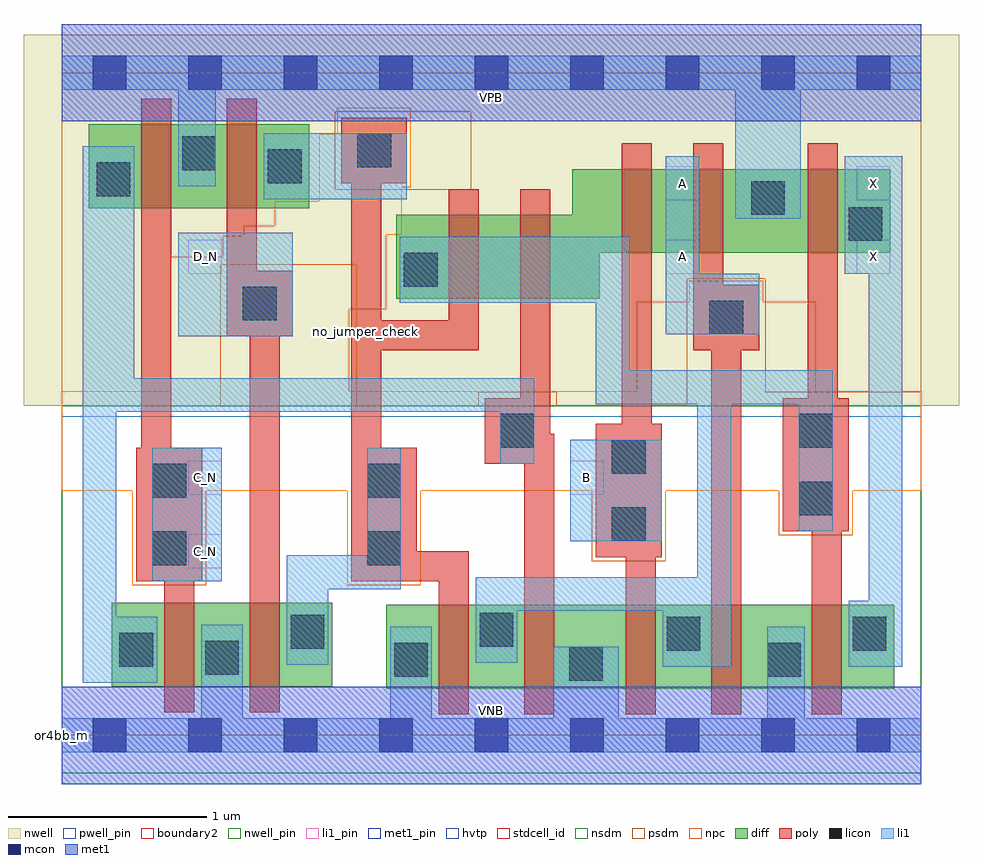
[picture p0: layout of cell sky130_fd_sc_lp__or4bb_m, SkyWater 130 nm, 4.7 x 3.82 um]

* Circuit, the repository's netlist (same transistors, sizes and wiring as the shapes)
* Copyright 2020 The SkyWater PDK Authors
*
* Licensed under the Apache License, Version 2.0 (the "License");
* you may not use this file except in compliance with the License.
* You may obtain a copy of the License at
*
*     https://www.apache.org/licenses/LICENSE-2.0
*
* Unless required by applicable law or agreed to in writing, software
* distributed under the License is distributed on an "AS IS" BASIS,
* WITHOUT WARRANTIES OR CONDITIONS OF ANY KIND, either express or implied.
* See the License for the specific language governing permissions and
* limitations under the License.
*
* SPDX-License-Identifier: Apache-2.0

.SUBCKT sky130_fd_sc_lp__or4bb_m A B C_N D_N VGND VNB VPB VPWR X
*.PININFO A:I B:I C_N:I D_N:I VGND:I VNB:I VPB:I VPWR:I X:O
MMP0 VPWR A sndPA VPB sky130_fd_pr__pfet_01v8_hvt m=1 w=0.42U l=0.15U mult=1 sa=0.265
+ sb=0.265 sd=0.28 area=0.063 perim=1.14
MMP1 sndPA B sndPB VPB sky130_fd_pr__pfet_01v8_hvt m=1 w=0.42U l=0.15U mult=1 sa=0.265
+ sb=0.265 sd=0.28 area=0.063 perim=1.14
MMP2 sndPB C sndPC VPB sky130_fd_pr__pfet_01v8_hvt m=1 w=0.42U l=0.15U mult=1 sa=0.265
+ sb=0.265 sd=0.28 area=0.063 perim=1.14
MMP3 sndPC D y VPB sky130_fd_pr__pfet_01v8_hvt m=1 w=0.42U l=0.15U mult=1 sa=0.265
+ sb=0.265 sd=0.28 area=0.063 perim=1.14
MMIP2 C C_N VPWR VPB sky130_fd_pr__pfet_01v8_hvt m=1 w=0.42U l=0.15U mult=1 sa=0.265
+ sb=0.265 sd=0.28 area=0.063 perim=1.14
MMIP3 D D_N VPWR VPB sky130_fd_pr__pfet_01v8_hvt m=1 w=0.42U l=0.15U mult=1 sa=0.265
+ sb=0.265 sd=0.28 area=0.063 perim=1.14
MMIP4 X y VPWR VPB sky130_fd_pr__pfet_01v8_hvt m=1 w=0.42U l=0.15U mult=1 sa=0.265
+ sb=0.265 sd=0.28 area=0.063 perim=1.14
MMN0 y A VGND VNB sky130_fd_pr__nfet_01v8 m=1 w=0.42U l=0.15U mult=1 sa=0.265 sb=0.265
+ sd=0.28 area=0.063 perim=1.14
MMN1 y B VGND VNB sky130_fd_pr__nfet_01v8 m=1 w=0.42U l=0.15U mult=1 sa=0.265 sb=0.265
+ sd=0.28 area=0.063 perim=1.14
MMN2 y C VGND VNB sky130_fd_pr__nfet_01v8 m=1 w=0.42U l=0.15U mult=1 sa=0.265 sb=0.265
+ sd=0.28 area=0.063 perim=1.14
MMN3 y D VGND VNB sky130_fd_pr__nfet_01v8 m=1 w=0.42U l=0.15U mult=1 sa=0.265 sb=0.265
+ sd=0.28 area=0.063 perim=1.14
MMIN2 C C_N VGND VNB sky130_fd_pr__nfet_01v8 m=1 w=0.42U l=0.15U mult=1 sa=0.265
+ sb=0.265 sd=0.28 area=0.063 perim=1.14
MMIN3 D D_N VGND VNB sky130_fd_pr__nfet_01v8 m=1 w=0.42U l=0.15U mult=1 sa=0.265
+ sb=0.265 sd=0.28 area=0.063 perim=1.14
MMIN4 X y VGND VNB sky130_fd_pr__nfet_01v8 m=1 w=0.42U l=0.15U mult=1 sa=0.265
+ sb=0.265 sd=0.28 area=0.063 perim=1.14
.ENDS sky130_fd_sc_lp__or4bb_m

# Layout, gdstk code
import gdstk
lib = gdstk.Library(unit=1e-6, precision=1e-09)
def R(c, l, rs):  # rectangles x0, y0, x1, y1
    for r in rs: c.add(gdstk.rectangle(r[:2], r[2:], *l))
def A(c, l, x, y, w, h, nx, ny, dx, dy):  # array of equal rectangles
    R(c, l, [(x+i*dx, y+j*dy, x+i*dx+w, y+j*dy+h) for i in range(nx) for j in range(ny)])
def P(c, l, *ps):  # polygons
    for p in ps: c.add(gdstk.Polygon(p, *l))
nwell_pin = (64, 16)
nwell = (64, 20)
diff = (65, 20)
poly = (66, 20)
licon = (66, 44)
li1_pin = (67, 16)
li1 = (67, 20)
mcon = (67, 44)
met1_pin = (68, 16)
met1 = (68, 20)
hvtp = (78, 44)
stdcell_id = (81, 4)
nsdm = (93, 44)
psdm = (94, 20)
npc = (95, 20)
pwell_pin = (122, 16)
boundary2 = (236, 0)

sky130_fd_sc_lp__or4bb_m = lib.new_cell('sky130_fd_sc_lp__or4bb_m')
R(sky130_fd_sc_lp__or4bb_m, nwell_pin, [(0,3.085,4.32,3.33)])
R(sky130_fd_sc_lp__or4bb_m, nwell, [(-0.19,1.655,4.51,3.52)])
R(sky130_fd_sc_lp__or4bb_m, diff, [(1.63,0.235,4.185,0.655), (0.25,0.245,1.36,0.665), (0.135,2.65,1.245,3.07)])
P(sky130_fd_sc_lp__or4bb_m, diff, [(4.165,2.845),(2.565,2.845),(2.565,2.615),(1.68,2.615),(1.68,2.195),(2.705,2.195),(2.705,2.425),(4.165,2.425)])
R(sky130_fd_sc_lp__or4bb_m, poly, [(1.405,2.775,1.735,3.105)])
P(sky130_fd_sc_lp__or4bb_m, poly, [(0.705,1.445),(0.55,1.445),(0.55,3.2),(0.4,3.2),(0.4,1.445),(0.375,1.445),(0.375,0.775),(0.515,0.775),(0.515,0.115),(0.665,0.115),(0.665,0.775),(0.705,0.775)],
  [(1.16,2.335),(0.98,2.335),(0.98,3.2),(0.83,3.2),(0.83,2.005),(0.945,2.005),(0.945,0.115),(1.095,0.115),(1.095,2.005),(1.16,2.005)],
  [(2.095,2.745),(1.945,2.745),(1.945,2.085),(1.605,2.085),(1.605,2.775),(1.455,2.775),(1.455,0.775),(1.895,0.775),(1.895,0.105),(2.045,0.105),(2.045,0.925),(1.785,0.925),(1.785,1.445),(1.605,1.445),(1.605,1.935),(2.095,1.935)],
  [(2.475,1.515),(2.455,1.515),(2.455,2.745),(2.305,2.745),(2.305,1.695),(2.125,1.695),(2.125,1.365),(2.325,1.365),(2.325,0.105),(2.475,0.105)],
  [(3.015,1.565),(2.965,1.565),(2.965,2.975),(2.815,2.975),(2.815,1.565),(2.685,1.565),(2.685,0.895),(2.835,0.895),(2.835,0.105),(2.985,0.105),(2.985,0.895),(3.015,0.895)],
  [(3.505,2.265),(3.325,2.265),(3.325,2.975),(3.175,2.975),(3.175,1.935),(3.265,1.935),(3.265,0.105),(3.415,0.105),(3.415,1.935),(3.505,1.935)],
  [(3.955,1.695),(3.9,1.695),(3.9,2.975),(3.75,2.975),(3.75,1.695),(3.625,1.695),(3.625,1.025),(3.77,1.025),(3.77,0.105),(3.92,0.105),(3.92,1.025),(3.955,1.025)])
R(sky130_fd_sc_lp__or4bb_m, licon, [(2.55,0.275,2.72,0.445), (1.67,0.295,1.84,0.465), (3.545,0.295,3.715,0.465), (0.72,0.305,0.89,0.475), (0.29,0.345,0.46,0.515), (3.04,0.425,3.21,0.595), (3.975,0.425,4.145,0.595), (1.15,0.435,1.32,0.605), (2.1,0.445,2.27,0.615), (0.455,0.855,0.625,1.025), (1.535,0.855,1.705,1.025), (2.765,0.975,2.935,1.145), (3.705,1.105,3.875,1.275), (0.455,1.195,0.625,1.365), (1.535,1.195,1.705,1.365), (2.765,1.315,2.935,1.485), (2.205,1.445,2.375,1.615), (3.705,1.445,3.875,1.615), (3.255,2.015,3.425,2.185), (0.91,2.085,1.08,2.255), (1.72,2.255,1.89,2.425), (3.955,2.485,4.125,2.655), (3.465,2.615,3.635,2.785), (0.175,2.71,0.345,2.88), (1.035,2.775,1.205,2.945), (0.605,2.84,0.775,3.01), (1.485,2.855,1.655,3.025)])
R(sky130_fd_sc_lp__or4bb_m, li1_pin, [(0.635,0.84,0.805,1.01), (0.635,1.21,0.805,1.38), (2.555,1.21,2.725,1.38), (0.635,2.32,0.805,2.49), (3.035,2.32,3.205,2.49), (3.995,2.32,4.165,2.49), (3.035,2.69,3.205,2.86), (3.995,2.69,4.165,2.86)])
R(sky130_fd_sc_lp__or4bb_m, li1, [(0.455,0.775,0.805,1.445), (2.555,0.975,3.015,1.485), (0.585,2.005,1.16,2.525), (1.015,2.695,1.735,3.025)])
P(sky130_fd_sc_lp__or4bb_m, li1, [(3.385,2.595),(3.385,3.245),(0.775,3.245),(0.775,2.76),(0.585,2.76),(0.585,3.245),(0,3.245),(0,3.415),(4.32,3.415),(4.32,3.245),(3.715,3.245),(3.715,2.595)],
  [(2.47,0.085),(2.47,0.445),(2.8,0.445),(2.8,0.085),(3.545,0.085),(3.545,0.545),(3.735,0.545),(3.735,0.085),(4.32,0.085),(4.32,-0.085),(0,-0.085),(0,0.085),(0.7,0.085),(0.7,0.555),(0.91,0.555),(0.91,0.085),(1.65,0.085),(1.65,0.545),(1.86,0.545),(1.86,0.085)],
  [(3.02,0.345),(3.02,0.625),(2.29,0.625),(2.29,0.365),(2.08,0.365),(2.08,0.795),(3.195,0.795),(3.195,1.665),(2.685,1.665),(2.685,2.175),(1.7,2.175),(1.7,2.505),(2.855,2.505),(2.855,1.835),(3.875,1.835),(3.875,1.025),(3.705,1.025),(3.705,1.665),(3.365,1.665),(3.365,0.345)],
  [(3.935,2.32),(3.935,2.91),(4.225,2.91),(4.225,0.345),(3.955,0.345),(3.955,0.675),(4.055,0.675),(4.055,2.32)],
  [(0.365,1.795),(2.375,1.795),(2.375,1.365),(2.205,1.365),(2.205,1.625),(0.275,1.625),(0.275,0.595),(0.48,0.595),(0.48,0.265),(0.105,0.265),(0.105,2.96),(0.365,2.96)],
  [(1.535,0.905),(1.535,1.445),(1.705,1.445),(1.705,0.735),(1.34,0.735),(1.34,0.355),(1.13,0.355),(1.13,0.905)],
  [(3.035,2.91),(3.205,2.91),(3.205,2.32),(3.505,2.32),(3.505,2.015),(3.035,2.015)])
A(sky130_fd_sc_lp__or4bb_m, mcon, 0.155, -0.085, 0.17, 0.17, 9, 2, 0.48, 3.33)
R(sky130_fd_sc_lp__or4bb_m, met1_pin, [(0,0,4.32,0.245), (0,3.085,4.32,3.33)])
R(sky130_fd_sc_lp__or4bb_m, met1, [(0,-0.245,4.32,0.245), (0,3.085,4.32,3.575)])
R(sky130_fd_sc_lp__or4bb_m, hvtp, [(0,1.6,4.32,3.33)])
R(sky130_fd_sc_lp__or4bb_m, stdcell_id, [(0,0,4.32,3.33)])
R(sky130_fd_sc_lp__or4bb_m, nsdm, [(0,-0.19,4.32,1.655)])
P(sky130_fd_sc_lp__or4bb_m, psdm, [(4.32,3.52),(2.055,3.52),(2.055,2.745),(1.375,2.745),(1.375,3.135),(2.055,3.135),(2.055,3.52),(0,3.52),(0,1.655),(0.8,1.655),(0.8,2.365),(1.48,2.365),(1.48,1.655),(2.095,1.655),(2.095,1.725),(2.485,1.725),(2.485,1.655),(3.145,1.655),(3.145,2.295),(3.535,2.295),(3.535,1.725),(4.32,1.725)])
P(sky130_fd_sc_lp__or4bb_m, npc, [(4.32,1.73),(3.79,1.73),(3.79,2.18),(3.525,2.18),(3.525,2.285),(3.155,2.285),(3.155,2.18),(2.89,2.18),(2.89,1.73),(1.445,1.73),(1.445,2.14),(1.63,2.14),(1.63,2.515),(1.71,2.515),(1.71,2.755),(1.755,2.755),(1.755,3.155),(1.385,3.155),(1.385,3.02),(1.295,3.02),(1.295,2.685),(1.07,2.685),(1.07,2.56),(0.915,2.56),(0.915,2.51),(0.81,2.51),(0.81,2.405),(0.545,2.405),(0.545,1.73),(0,1.73),(0,1.23),(0.355,1.23),(0.355,0.755),(0.725,0.755),(0.725,1.23),(1.435,1.23),(1.435,0.755),(1.805,0.755),(1.805,1.23),(2.665,1.23),(2.665,0.875),(3.035,0.875),(3.035,1.23),(3.605,1.23),(3.605,1.005),(3.975,1.005),(3.975,1.23),(4.32,1.23)])
R(sky130_fd_sc_lp__or4bb_m, pwell_pin, [(0,0,4.32,0.245)])
R(sky130_fd_sc_lp__or4bb_m, boundary2, [(0,0,4.32,3.33)])
sky130_fd_sc_lp__or4bb_m.add(gdstk.Label('VNB', (2.16,0.123), layer=64, texttype=59))
sky130_fd_sc_lp__or4bb_m.add(gdstk.Label('VPB', (2.16,3.208), layer=64, texttype=5))
sky130_fd_sc_lp__or4bb_m.add(gdstk.Label('or4bb_m', (0,0), layer=83, texttype=44))
sky130_fd_sc_lp__or4bb_m.add(gdstk.Label('no_jumper_check', (1.525,2.03), layer=83, texttype=44))
sky130_fd_sc_lp__or4bb_m.add(gdstk.Label('VPWR', (2.16,3.208), layer=68, texttype=5))
sky130_fd_sc_lp__or4bb_m.add(gdstk.Label('VGND', (2.16,0.123), layer=68, texttype=5))
sky130_fd_sc_lp__or4bb_m.add(gdstk.Label('B', (2.64,1.295), layer=67, texttype=5))
sky130_fd_sc_lp__or4bb_m.add(gdstk.Label('C_N', (0.72,0.925), layer=67, texttype=5))
sky130_fd_sc_lp__or4bb_m.add(gdstk.Label('C_N', (0.72,1.295), layer=67, texttype=5))
sky130_fd_sc_lp__or4bb_m.add(gdstk.Label('D_N', (0.72,2.405), layer=67, texttype=5))
sky130_fd_sc_lp__or4bb_m.add(gdstk.Label('A', (3.12,2.405), layer=67, texttype=5))
sky130_fd_sc_lp__or4bb_m.add(gdstk.Label('A', (3.12,2.775), layer=67, texttype=5))
sky130_fd_sc_lp__or4bb_m.add(gdstk.Label('X', (4.08,2.405), layer=67, texttype=5))
sky130_fd_sc_lp__or4bb_m.add(gdstk.Label('X', (4.08,2.775), layer=67, texttype=5))

lib.write_gds('sky130_fd_sc_lp__or4bb_m.gds')
